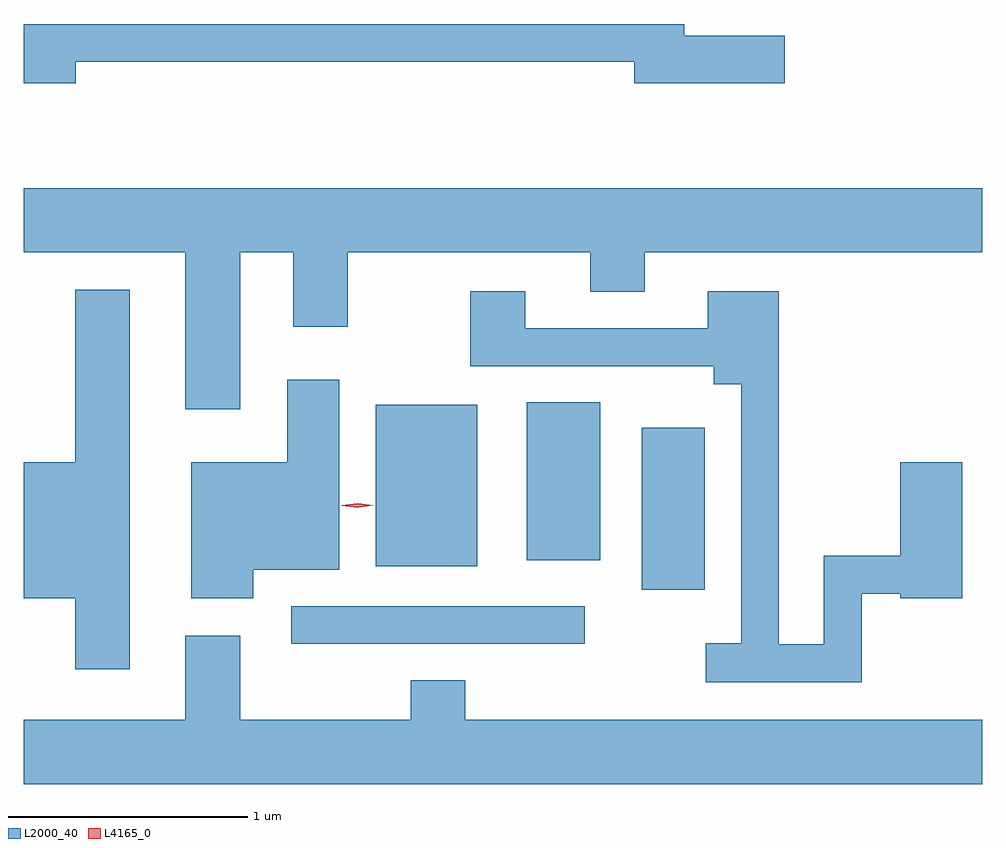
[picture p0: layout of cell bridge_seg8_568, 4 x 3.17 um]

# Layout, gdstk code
import gdstk
lib = gdstk.Library(unit=1e-6, precision=1e-09)
def R(c, l, rs):  # rectangles x0, y0, x1, y1
    for r in rs: c.add(gdstk.rectangle(r[:2], r[2:], *l))
def P(c, l, *ps):  # polygons
    for p in ps: c.add(gdstk.Polygon(p, *l))
L2000_40 = (2000, 40)
L4165_0 = (4165, 0)

bridge_seg8_568 = lib.new_cell('bridge_seg8_568')
R(bridge_seg8_568, L2000_40, [(565.703,1841.441,566.928,1841.599), (567.166,1841.666,567.429,1842.344), (566.056,1841.766,566.479,1842.439), (566.686,1841.791,566.994,1842.449)])
P(bridge_seg8_568, L2000_40, [(564.804,1843.871),(567.136,1843.871),(567.136,1843.781),(567.764,1843.781),(567.764,1843.979),(567.344,1843.979),(567.344,1844.029),(564.587,1844.029),(564.587,1843.781),(564.804,1843.781)],
  [(565.489,1843.076),(565.711,1843.076),(565.711,1842.766),(565.939,1842.766),(565.939,1843.076),(566.951,1843.076),(566.951,1842.911),(567.179,1842.911),(567.179,1843.076),(568.587,1843.076),(568.587,1843.344),(564.587,1843.344),(564.587,1843.076),(565.261,1843.076),(565.261,1842.421),(565.489,1842.421)],
  [(565.029,1842.919),(564.801,1842.919),(564.801,1842.199),(564.587,1842.199),(564.587,1841.631),(564.801,1841.631),(564.801,1841.336),(565.029,1841.336)],
  [(568.084,1841.651),(568.246,1841.651),(568.246,1841.631),(568.504,1841.631),(568.504,1842.199),(568.246,1842.199),(568.246,1841.809),(567.926,1841.809),(567.926,1841.439),(567.739,1841.439),(567.739,1842.914),(567.441,1842.914),(567.441,1842.759),(566.679,1842.759),(566.679,1842.914),(566.451,1842.914),(566.451,1842.601),(567.466,1842.601),(567.466,1842.526),(567.581,1842.526),(567.581,1841.444),(567.433,1841.444),(567.433,1841.281),(568.084,1841.281)],
  [(565.544,1841.751),(565.904,1841.751),(565.904,1842.544),(565.686,1842.544),(565.686,1842.199),(565.286,1842.199),(565.286,1841.631),(565.544,1841.631)],
  [(568.587,1841.124),(566.429,1841.124),(566.429,1841.289),(566.201,1841.289),(566.201,1841.124),(565.489,1841.124),(565.489,1841.474),(565.261,1841.474),(565.261,1841.124),(564.587,1841.124),(564.587,1840.856),(568.587,1840.856)])
P(bridge_seg8_568, L4165_0, [(565.98,1842.009),(565.913,1842.018),(565.913,1842.019),(565.913,1842.019),(565.98,1842.029),(566.046,1842.02),(566.046,1842.019),(566.046,1842.019)])

lib.write_gds('bridge_seg8_568.gds')
